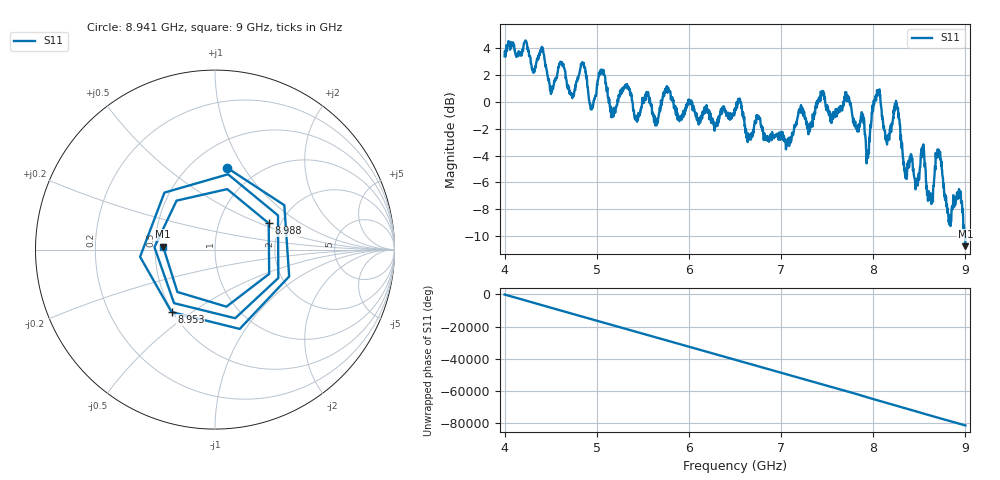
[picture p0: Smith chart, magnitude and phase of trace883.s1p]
! Created with skrf 1.8.0 (http://scikit-rf.org).
# Hz S RI R 50.0
!freq ReS11 ImS11
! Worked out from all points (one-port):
!   1601 points, 4 GHz to 9 GHz, reference 50 ohm
!   lowest |S11| = -10.8 dB at 9 GHz (marker M1), VSWR 1.82, Z = 27.5 + j1.03 ohm
!   |S11| at or under -10 dB: 8.996773 GHz to end of sweep
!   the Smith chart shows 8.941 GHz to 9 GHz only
!   S11 on the Smith chart (normalised r, x): 8.941 GHz: 0.74, +0.85; 8.953 GHz: 0.49, -0.42; 8.988 GHz: 1.73, +0.57; 9 GHz: 0.55, +0.02
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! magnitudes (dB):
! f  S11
! 4 GHz  3.4
! 4.406 GHz  4.1
! 4.509 GHz  0.9
! 4.625 GHz  2.8
! 4.728 GHz  0.6
! 4.853 GHz  2.9
! 4.941 GHz  -0.3
! 5.05 GHz  2.3
! 5.169 GHz  -1.0
! 5.25 GHz  0.5
! 5.875 GHz  -0.9
! 6.5 GHz  -0.5
! 7.125 GHz  -2.5
! 7.444 GHz  0.8
! 7.75 GHz  -0.3
! 7.938 GHz  -3.9
! 8.044 GHz  0.7
! 8.15 GHz  -3.2
! 8.25 GHz  0.0
! 8.375 GHz  -4.9
! 8.541 GHz  -3.3
! 8.625 GHz  -7.0
! 8.703 GHz  -3.7
! 8.822 GHz  -8.8
! 8.941 GHz  -6.8
! 8.953 GHz  -7.5
! 8.988 GHz  -9.5
! 9 GHz  -10.8
